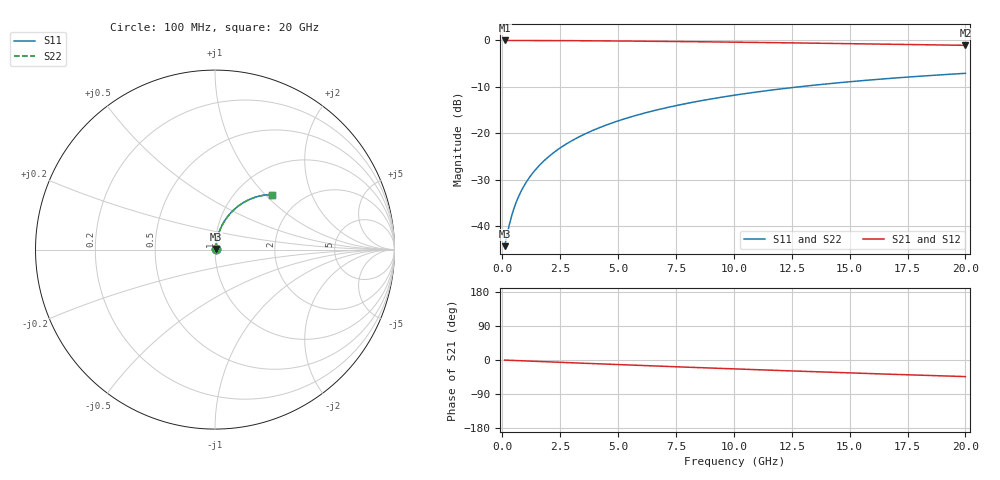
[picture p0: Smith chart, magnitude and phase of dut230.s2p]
! Touchstone file exported from HFSS 2026.1.0
!  File:  C:/ffzhzh/LocalFiles/Ansys_Project_Files/temp_train_TMRDL_230_1782984488_45328.aedt
!  Generated:  05:29:15 PM Jul  2, 2026
!  Design:  TMRDL
!  Project:  temp_train_TMRDL_230_1782984488_45328
! Variables:
!  h_bsmrdl = 2um
!  h_ox = 20um
!  h_rdl = 5um
!  h_sub = 80um
!  h_tmrdl = 4.12um
!  h_tsv = 80um
!  h_via = 3um
!  l_bsmrdl = 300um
!  l_sub = 1038.7um
!  l_tmrdl = 638.7um
!  m_sub = 200um
!  pitch = 32.96um
!  r_tsv = 6um
!  s_tmrdl = 10um
!  w_bsmrdl = 18um
!  w_sub = 500um
!  w_tmrdl = 10.27um
!  x_tsv_center1 = 643.835um
!  x_tsv_center2 = 961.835um
!  x_tsv_center3 = 1610.805um
!  x_tsv_center4 = 1928.805um
!  x_tsv_center5 = 2577.775um
!  x_tsv_center6 = 2895.775um
# GHz S MA R 50.000000
! Terminal data exported
! Port[1] = TM_RDL1_1_T1
! Port[2] = TM_RDL1_1_T2
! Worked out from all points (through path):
!   200 points, 100 MHz to 20 GHz, reference 50 ohm
!   highest |S21| = -0.05 dB at 100 MHz (marker M1); lowest = -1.1 dB at 20 GHz (marker M2)
!   group delay of S21, straight-line fit = 6.09 ps
!   lowest |S11| = -44.3 dB at 100 MHz (marker M3), VSWR 1.01, Z = 50.5 + j0.292 ohm
!   |S11| at or under -10 dB: start of sweep to 12.86 GHz
!   |S22| runs from -44.3 to -7.1 dB; largest |S21 - S12| = 2.6e-15
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0.1  0.006082 28.4  0.9947 -0.3  0.9947 -0.3  0.006082 28.4
! Gamma 0 0 0 0
! Port Impedance 50 0 50 0
0.3  0.01027 56.9  0.9945 -0.8  0.9945 -0.8  0.01027 56.9
0.4  0.01279 63.1  0.9943 -1.0  0.9943 -1.0  0.01279 63.1
0.5  0.0154 67.0  0.9942 -1.2  0.9942 -1.2  0.0154 67.0
0.6  0.01804 69.8  0.9941 -1.5  0.9941 -1.5  0.01804 69.8
0.7  0.0207 71.8  0.9939 -1.7  0.9939 -1.7  0.0207 71.8
0.9  0.02606 74.4  0.9937 -2.2  0.9937 -2.2  0.02606 74.4
1.2  0.03416 76.6  0.9933 -3.0  0.9933 -3.0  0.03416 76.6
1.4  0.03957 77.4  0.993 -3.4  0.993 -3.4  0.03957 77.4
1.7  0.04771 78.0  0.9925 -4.2  0.9925 -4.2  0.04771 78.0
2.2  0.06126 78.3  0.9914 -5.4  0.9914 -5.4  0.06126 78.3
2.8  0.07747 77.9  0.9899 -6.8  0.9899 -6.8  0.07747 77.9
3.5  0.09621 77.0  0.9878 -8.5  0.9878 -8.5  0.09621 77.0
4.2  0.1147 75.8  0.9853 -10.2  0.9853 -10.2  0.1147 75.8
5  0.1355 74.2  0.982 -12.1  0.982 -12.1  0.1355 74.2
5.9  0.1585 72.4  0.9779 -14.2  0.9779 -14.2  0.1585 72.4
6.8  0.1809 70.5  0.9732 -16.3  0.9732 -16.3  0.1809 70.5
8.3  0.2169 67.3  0.9647 -19.7  0.9647 -19.7  0.2169 67.3
10.1  0.258 63.5  0.9534 -23.7  0.9534 -23.7  0.258 63.5
13.4  0.3271 56.7  0.9305 -30.7  0.9305 -30.7  0.3271 56.7
16.7  0.3879 50.3  0.9061 -37.5  0.9061 -37.5  0.3879 50.2
20  0.4405 44.1  0.8816 -43.8  0.8816 -43.8  0.4405 44.1
